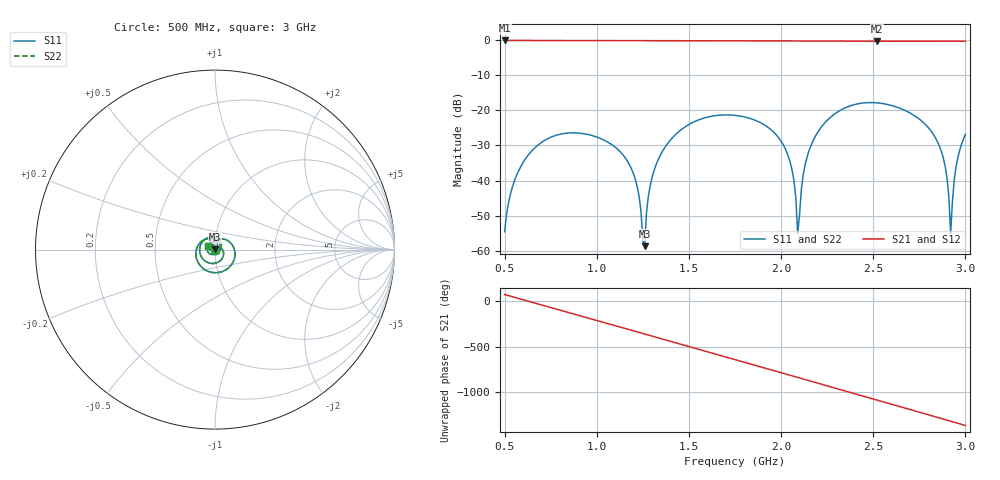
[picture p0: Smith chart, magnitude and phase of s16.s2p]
!freq-unit  param-type  data-format  keyword  impedance-ohms
# GHZ  S  RI  R  50
!Freq  ReS11  ImS11  ReS21  ImS21  ReS12  ImS12  ReS22  ImS22
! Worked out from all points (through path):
!   251 points, 500 MHz to 3 GHz, reference 50 ohm
!   highest |S21| = -0.09 dB at 500 MHz (marker M1); lowest = -0.3 dB at 2.52 GHz (marker M2)
!   group delay of S21, straight-line fit = 1.61 ns
!   lowest |S11| = -58.7 dB at 1.26 GHz (marker M3), VSWR 1.00, Z = 50 + j0.107 ohm
!   |S11| at or under -10 dB: start of sweep to end of sweep
!   |S22| runs from -58.7 to -17.8 dB; largest |S21 - S12| = 0
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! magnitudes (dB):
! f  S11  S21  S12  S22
! 500 MHz  -54.6  -0.1  -0.1  -54.6
! 540 MHz  -42.2  -0.1  -0.1  -42.2
! 630 MHz  -32.6  -0.1  -0.1  -32.6
! 920 MHz  -26.6  -0.1  -0.1  -26.6
! 1.17 GHz  -34.8  -0.2  -0.2  -34.8
! 1.22 GHz  -41.8  -0.2  -0.2  -41.8
! 1.26 GHz  -58.7  -0.2  -0.2  -58.7
! 1.28 GHz  -44.4  -0.2  -0.2  -44.4
! 1.34 GHz  -33.3  -0.2  -0.2  -33.3
! 1.75 GHz  -21.4  -0.2  -0.2  -21.4
! 2.01 GHz  -29.7  -0.2  -0.2  -29.7
! 2.07 GHz  -40.1  -0.2  -0.2  -40.1
! 2.09 GHz  -55.1  -0.2  -0.2  -55.1
! 2.12 GHz  -38.4  -0.2  -0.2  -38.4
! 2.17 GHz  -29.1  -0.2  -0.2  -29.1
! 2.52 GHz  -17.9  -0.3  -0.3  -17.9
! 2.59 GHz  -18.5  -0.3  -0.3  -18.5
! 2.85 GHz  -29.1  -0.3  -0.3  -29.1
! 2.9 GHz  -39.1  -0.3  -0.3  -39.1
! 2.92 GHz  -55.0  -0.3  -0.3  -55.0
! 2.95 GHz  -35.9  -0.3  -0.3  -35.9
! 3 GHz  -26.9  -0.3  -0.3  -26.9
